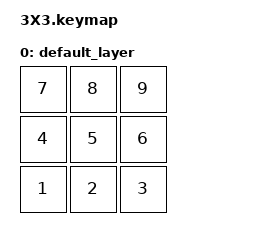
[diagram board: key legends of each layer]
/*
 * Copyright (c) 2020 The ZMK Contributors
 *
 * SPDX-License-Identifier: MIT
 */

#include <behaviors.dtsi>
#include <dt-bindings/zmk/keys.h>
#include <dt-bindings/zmk/bt.h>
#include <dt-bindings/zmk/outputs.h>


/ {
    keymap {
        compatible = "zmk,keymap";

        default_layer {
            // ------------------------------
            // | 7      |  8      |  9      |
            // | 4      |  5      |  6      |
            // | 1      |  2      |  3      |
            // ------------------------------
            bindings = <
                &kp N7   &kp N8 &kp N9
                &kp N4   &kp N5 &kp N6
                &kp N1   &kp N2 &kp N3
            >;
        };
    };
};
